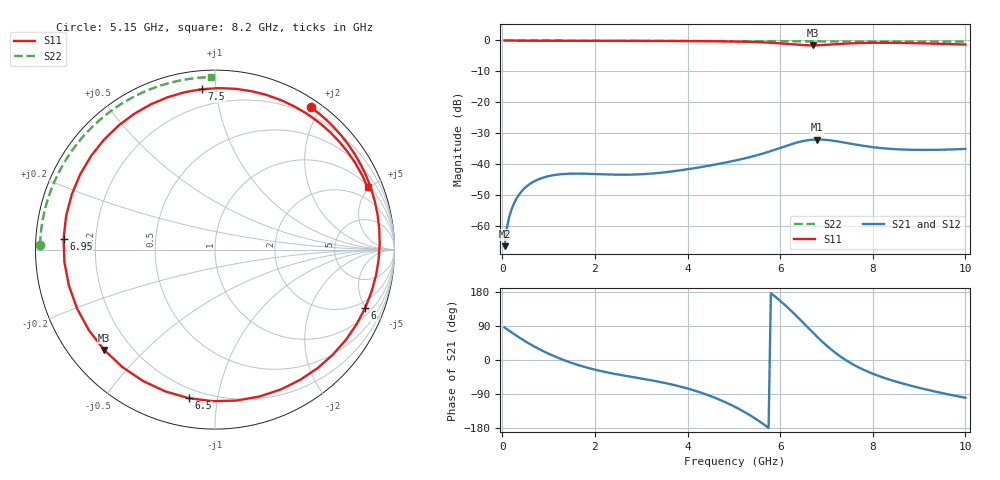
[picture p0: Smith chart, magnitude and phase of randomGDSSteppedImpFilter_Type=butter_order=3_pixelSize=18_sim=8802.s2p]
! freq	dB(S11)	phase(S11)	dB(S12)	phase(S12)
!  dB(S21)	phase(S21)	dB(S22)	phase(S22)
!S-par simulation data
#  GHz  S  DB  R 50
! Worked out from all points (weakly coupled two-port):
!   200 points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, 50 MHz to 10 GHz, reference 50 ohm
!   highest |S21| = -31.95 dB at 6.8 GHz (marker M1); lowest = -66.4 dB at 50 MHz (marker M2)
!   lowest |S11| = -1.6 dB at 6.7 GHz (marker M3), VSWR 10.99, Z = 5.22 - j19.1 ohm
!   |S11| at or under -10 dB: nowhere
!   |S22| runs from -0.4 to 0.0 dB; largest |S21 - S12| = 0
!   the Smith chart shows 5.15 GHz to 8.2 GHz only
!   S11 on the Smith chart (normalised r, x): 5.15 GHz: 0.10, +1.88; 6 GHz: 1.46, -4.91; 6.5 GHz: 0.15, -0.83; 6.95 GHz: 0.08, +0.04; 7.5 GHz: 0.10, +0.92; 8.2 GHz: 1.09, +4.85
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0.05  -0.00 -6.4  -66.36 85.7  -66.36 85.7  -0.00 -2.3
0.25  -0.05 -31.1  -52.65 68.7  -52.65 68.7  -0.02 -11.3
0.75  -0.09 -84.3  -44.99 31.7  -44.99 31.7  -0.04 -33.5
1.25  -0.11 -123.1  -43.17 3.5  -43.17 3.5  -0.07 -54.7
1.75  -0.11 -151.8  -42.97 -17.4  -42.97 -17.4  -0.09 -74.7
2.5  -0.12 174.7  -43.30 -38.3  -43.30 -38.3  -0.11 -102.1
3.4  -0.15 139.4  -42.71 -57.8  -42.71 -57.8  -0.14 -131.4
4.35  -0.23 99.7  -40.69 -88.6  -40.69 -88.6  -0.18 -159.3
5.05  -0.36 62.3  -38.67 -125.3  -38.67 -125.3  -0.21 -178.8
5.15  -0.39 55.9  -38.34 -131.8  -38.34 -131.8  -0.21 178.5
5.65  -0.63 16.9  -36.38 -170.1  -36.38 -170.1  -0.24 164.9
6  -0.94 -21.3  -34.68 156.3  -34.68 156.3  -0.26 155.3
6.5  -1.51 -99.9  -32.43 98.0  -32.43 98.0  -0.28 141.5
6.7  -1.59 -137.8  -32.01 73.1  -32.01 73.1  -0.29 135.8
6.8  -1.56 -156.8  -31.95 61.0  -31.95 61.0  -0.29 133.0
6.95  -1.45 175.9  -32.03 43.8  -32.03 43.8  -0.30 128.7
7.25  -1.16 127.9  -32.59 13.8  -32.59 13.8  -0.31 120.1
7.5  -0.95 94.7  -33.24 -6.4  -33.24 -6.4  -0.32 112.7
8.2  -0.74 22.2  -34.76 -45.2  -34.76 -45.2  -0.35 91.4
8.35  -0.75 8.9  -34.94 -51.3  -34.94 -51.3  -0.35 86.7
9.2  -0.98 -58.7  -35.30 -79.2  -35.30 -79.2  -0.38 59.1
10  -1.32 -113.8  -34.99 -99.7  -34.99 -99.7  -0.41 32.2
